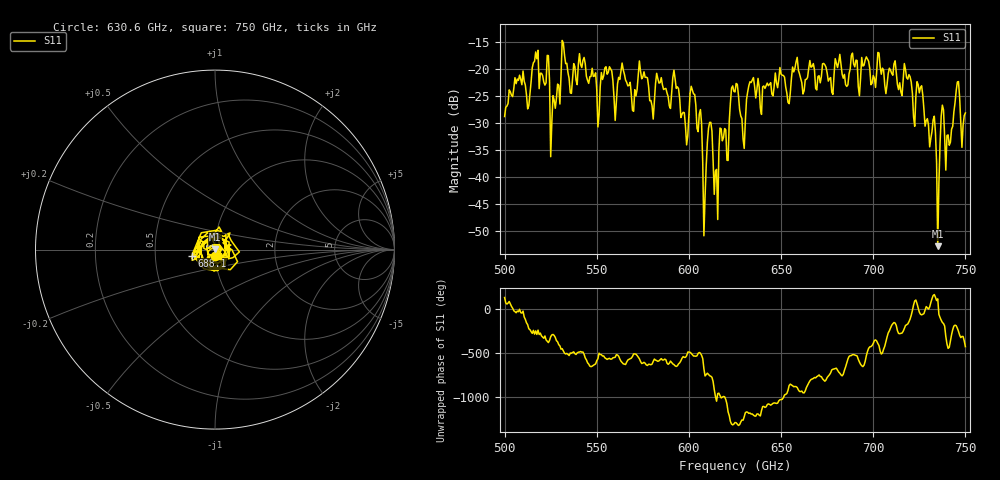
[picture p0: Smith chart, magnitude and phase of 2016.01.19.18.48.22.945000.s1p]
!Created with skrf (http://scikit-rf.org).
# GHz S RI R 50.0
!freq ReS11 ImS11
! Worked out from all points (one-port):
!   401 points, 500 GHz to 750 GHz, reference 50 ohm
!   lowest |S11| = -52.8 dB at 735 GHz (marker M1), VSWR 1.00, Z = 49.9 + j0.201 ohm
!   |S11| at or under -10 dB: start of sweep to end of sweep
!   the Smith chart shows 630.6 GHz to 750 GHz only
!   S11 on the Smith chart (normalised r, x): 630.6 GHz: 1.00, -0.07; 688.1 GHz: 0.77, -0.05; 750 GHz: 1.03, -0.07
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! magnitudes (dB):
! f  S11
! 500 GHz  -28.8
! 506.9 GHz  -21.9
! 513.1 GHz  -26.8
! 516.9 GHz  -16.8
! 523.1 GHz  -17.5
! 526.2 GHz  -24.9
! 531.2 GHz  -14.7
! 550.6 GHz  -30.7
! 562.5 GHz  -21.9
! 593.8 GHz  -23.3
! 598.8 GHz  -34.1
! 602.5 GHz  -24.6
! 608.8 GHz  -43.7
! 611.2 GHz  -29.9
! 614.4 GHz  -38.9
! 625 GHz  -24.2
! 630.6 GHz  -29.5
! 633.8 GHz  -22.5
! 656.2 GHz  -19.6
! 687.5 GHz  -20.0
! 688.1 GHz  -17.5
! 718.8 GHz  -21.9
! 732.5 GHz  -29.4
! 735 GHz  -52.8
! 737.5 GHz  -26.7
! 740.6 GHz  -32.2
! 745.6 GHz  -22.4
! 750 GHz  -28.1
